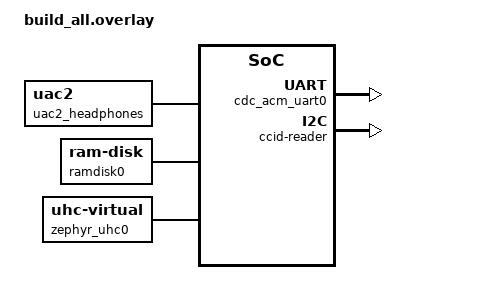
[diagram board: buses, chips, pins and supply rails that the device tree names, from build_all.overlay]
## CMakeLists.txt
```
# Copyright (c) 2023 Nordic Semiconductor ASA
# SPDX-License-Identifier: Apache-2.0

cmake_minimum_required(VERSION 3.28.0)

find_package(Zephyr REQUIRED HINTS $ENV{ZEPHYR_BASE})
project(test_usb_device_next)

target_include_directories(app PRIVATE ${ZEPHYR_BASE}/subsys/usb/host)

target_sources(app PRIVATE src/main.c)
```

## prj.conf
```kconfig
# Copyright (c) 2023 Nordic Semiconductor ASA
# SPDX-License-Identifier: Apache-2.0

CONFIG_LOG=y
CONFIG_ZTEST=y

CONFIG_USB_DEVICE_STACK_NEXT=y
CONFIG_USBD_LOOPBACK_CLASS=y
CONFIG_UDC_ENABLE_SOF=y
CONFIG_USBD_BUF_POOL_SIZE=4096

CONFIG_UHC_DRIVER=y
CONFIG_USB_HOST_STACK=y
```

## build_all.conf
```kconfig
# Copyright (c) 2024 Nordic Semiconductor ASA
# SPDX-License-Identifier: Apache-2.0

CONFIG_LOG=y
CONFIG_ZTEST=y

CONFIG_SHELL=y
CONFIG_USBD_SHELL=y

CONFIG_NETWORKING=y
CONFIG_NET_L2_ETHERNET=y

CONFIG_BT=y
CONFIG_BT_HCI_RAW=y

CONFIG_USB_DEVICE_STACK_NEXT=y
CONFIG_USBD_LOOPBACK_CLASS=y
CONFIG_USBD_CCID_CLASS=y

CONFIG_SERIAL=y
CONFIG_UART_INTERRUPT_DRIVEN=y
CONFIG_UART_LINE_CTRL=y

CONFIG_USBD_MSC_CLASS=y

CONFIG_USBD_AUDIO2_CLASS=y

CONFIG_USBD_BT_HCI=y

CONFIG_UHC_DRIVER=y
CONFIG_USB_HOST_STACK=y

CONFIG_TEST_RANDOM_GENERATOR=y
```

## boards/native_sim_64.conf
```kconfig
CONFIG_SYS_CLOCK_TICKS_PER_SEC=1000000
```

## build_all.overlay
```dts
/*
 * Copyright (c) 2024 Nordic Semiconductor ASA
 *
 * SPDX-License-Identifier: Apache-2.0
 */

/delete-node/ &zephyr_udc0;

#include <zephyr/dt-bindings/usb/audio.h>

/ {
	uac2_headphones: usb_audio2 {
		compatible = "zephyr,uac2";
		full-speed;
		audio-function = <AUDIO_FUNCTION_OTHER>;
		status = "okay";

		uac_aclk: aclk {
			compatible = "zephyr,uac2-clock-source";
			clock-type = "internal-programmable";
			frequency-control = "host-programmable";
			sampling-frequencies = <48000>;
		};

		out_terminal: out_terminal {
			compatible = "zephyr,uac2-input-terminal";
			clock-source = <&uac_aclk>;
			terminal-type = <USB_TERMINAL_STREAMING>;
			front-left;
			front-right;
		};

		headphones_output: headphones {
			compatible = "zephyr,uac2-output-terminal";
			data-source = <&out_terminal>;
			clock-source = <&uac_aclk>;
			terminal-type = <OUTPUT_TERMINAL_HEADPHONES>;
		};

		as_iso_out: out_interface {
			compatible = "zephyr,uac2-audio-streaming";
			linked-terminal = <&out_terminal>;
			subslot-size = <2>;
			bit-resolution = <16>;
		};
	};

	ramdisk0 {
		compatible = "zephyr,ram-disk";
		disk-name = "RAM";
		sector-size = <512>;
		sector-count = <1>;
	};

	cdc_ecm_eth0: cdc_ecm_eth0 {
		compatible = "zephyr,cdc-ecm-ethernet";
		remote-mac-address = "00005E005301";
	};

	zephyr_uhc0: uhc_vrt0 {
		compatible = "zephyr,uhc-virtual";

		zephyr_udc0: udc_vrt0 {
			compatible = "zephyr,udc-virtual";
			num-bidir-endpoints = <16>;
			maximum-speed = "high-speed";
		};
	};
};

&zephyr_udc0 {
	cdc_acm_uart0 {
		compatible = "zephyr,cdc-acm-uart";
	};

	ccid-reader {
		compatible = "zephyr,ccid";
		instance-id = <0>;
	};
};
```

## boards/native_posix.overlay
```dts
/*
 * Copyright (c) 2023 Nordic Semiconductor ASA
 *
 * SPDX-License-Identifier: Apache-2.0
 */

/delete-node/ &zephyr_udc0;

/ {
	zephyr_uhc0: uhc_vrt0 {
		compatible = "zephyr,uhc-virtual";

		zephyr_udc0: udc_vrt0 {
			compatible = "zephyr,udc-virtual";
			num-bidir-endpoints = <8>;
			maximum-speed = "high-speed";
		};
	};
};
```

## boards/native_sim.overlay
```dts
/*
 * Copyright (c) 2023 Nordic Semiconductor ASA
 *
 * SPDX-License-Identifier: Apache-2.0
 */

/delete-node/ &zephyr_udc0;

/ {
	zephyr_uhc0: uhc_vrt0 {
		compatible = "zephyr,uhc-virtual";

		zephyr_udc0: udc_vrt0 {
			compatible = "zephyr,udc-virtual";
			num-bidir-endpoints = <8>;
			maximum-speed = "super-speed";
		};
	};
};
```

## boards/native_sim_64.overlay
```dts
/*
 * Copyright (c) 2025 Nordic Semiconductor ASA
 *
 * SPDX-License-Identifier: Apache-2.0
 */

#include "native_sim.overlay"
```

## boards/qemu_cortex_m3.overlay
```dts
/*
 * Copyright (c) 2023 Nordic Semiconductor ASA
 *
 * SPDX-License-Identifier: Apache-2.0
 */

/ {
	zephyr_uhc0: uhc_vrt0 {
		compatible = "zephyr,uhc-virtual";

		zephyr_udc0: udc_vrt0 {
			compatible = "zephyr,udc-virtual";
			num-bidir-endpoints = <8>;
			maximum-speed = "high-speed";
		};
	};
};
```

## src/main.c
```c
/*
 * Copyright (c) 2023 Nordic Semiconductor ASA
 *
 * SPDX-License-Identifier: Apache-2.0
 */

#include <zephyr/ztest.h>
#include <zephyr/usb/usbd.h>
#include <zephyr/usb/usbh.h>

#include <usbh_ch9.h>
#include <usbh_device.h>

#include <zephyr/logging/log.h>
LOG_MODULE_REGISTER(usb_test, LOG_LEVEL_INF);

#define TEST_DEFAULT_INTERFACE		0
#define TEST_DEFAULT_ALTERNATE		1

USBD_CONFIGURATION_DEFINE(test_fs_config,
			  USB_SCD_SELF_POWERED | USB_SCD_REMOTE_WAKEUP,
			  200, NULL);

USBD_CONFIGURATION_DEFINE(test_hs_config,
			  USB_SCD_SELF_POWERED | USB_SCD_REMOTE_WAKEUP,
			  200, NULL);


USBD_DESC_LANG_DEFINE(test_lang);
USBD_DESC_STRING_DEFINE(test_mfg, "ZEPHYR", 1);
USBD_DESC_STRING_DEFINE(test_product, "Zephyr USB Test", 2);
USBD_DESC_STRING_DEFINE(test_sn, "0123456789ABCDEF", 3);

USBD_DEVICE_DEFINE(test_usbd,
		   DEVICE_DT_GET(DT_NODELABEL(zephyr_udc0)),
		   0x2fe3, 0xffff);

USBH_CONTROLLER_DEFINE(uhs_ctx, DEVICE_DT_GET(DT_NODELABEL(zephyr_uhc0)));

static int test_cmp_string_desc(struct net_buf *const buf, const int idx)
{
	static struct usbd_desc_node *desc_nd;
	size_t len;

	if (idx == test_mfg.str.idx) {
		desc_nd = &test_mfg;
	} else if (idx == test_product.str.idx) {
		desc_nd = &test_product;
	} else if (idx == test_sn.str.idx) {
		desc_nd = &test_sn;
	} else {
		return -ENOTSUP;
	}

	if (net_buf_pull_u8(buf) != desc_nd->bLength) {
		return -EINVAL;
	}

	if (net_buf_pull_u8(buf) != USB_DESC_STRING) {
		return -EINVAL;
	}

	LOG_HEXDUMP_DBG(buf->data, buf->len, "");
	len = MIN(buf->len / 2, desc_nd->bLength / 2);
	for (size_t i = 0; i < len; i++) {
		uint16_t a = net_buf_pull_le16(buf);
		uint16_t b = ((uint8_t *)(desc_nd->ptr))[i];

		if (a != b) {
			LOG_INF("%c != %c", a, b);
			return -EINVAL;
		}
	}

	return 0;
}

ZTEST(device_next, test_get_desc_string)
{
	const uint8_t type = USB_DESC_STRING;
	const uint16_t id = 0x0409;
	static struct usb_device *udev;
	struct net_buf *buf;
	int err;

	udev = usbh_device_get_any(&uhs_ctx);
	zassert_not_null(udev, "No USB device available");

	buf = usbh_xfer_buf_alloc(udev, USB_CONTROL_EP_IN, UINT8_MAX, K_NO_WAIT);
	zassert_not_null(udev, "Failed to allocate buffer");

	err = k_mutex_lock(&udev->mutex, K_MSEC(200));
	zassert_equal(err, 0, "Failed to lock device");

	err = usbh_req_desc(udev, type, 1, id, UINT8_MAX, buf);
	zassert_equal(err, 0, "Transfer status is an error");
	err = test_cmp_string_desc(buf, 1);
	zassert_equal(err, 0, "Descriptor comparison failed");

	net_buf_reset(buf);
	err = usbh_req_desc(udev, type, 2, id, UINT8_MAX, buf);
	zassert_equal(err, 0, "Transfer status is an error");
	err = test_cmp_string_desc(buf, 2);
	zassert_equal(err, 0, "Descriptor comparison failed");

	net_buf_reset(buf);
	err = usbh_req_desc(udev, type, 3, id, UINT8_MAX, buf);
	zassert_equal(err, 0, "Transfer status is an error");
	err = test_cmp_string_desc(buf, 3);
	zassert_equal(err, 0, "Descriptor comparison failed");

	k_mutex_unlock(&udev->mutex);
	usbh_xfer_buf_free(udev, buf);
}

ZTEST(device_next, test_vendor_control_in)
{
	const uint8_t bmRequestType = (USB_REQTYPE_DIR_TO_HOST << 7) |
				      (USB_REQTYPE_TYPE_VENDOR << 5);
	static struct usb_device *udev;
	const uint8_t bRequest = 0x5c;
	const uint16_t wLength = 64;
	struct net_buf *buf;
	int err;

	if (!IS_ENABLED(CONFIG_UHC_VIRTUAL)) {
		LOG_WRN("The test was skipped, controller is not supported.");
		return;
	}

	udev = usbh_device_get_any(&uhs_ctx);
	zassert_not_null(udev, "No USB device available");

	buf = usbh_xfer_buf_alloc(udev, USB_CONTROL_EP_IN, wLength, K_NO_WAIT);
	zassert_not_null(udev, "Failed to allocate buffer");

	err = k_mutex_lock(&udev->mutex, K_MSEC(200));
	zassert_equal(err, 0, "Failed to lock device");

	/* Perform regular vendor IN transfer */
	for (uint32_t i = 0; i < CONFIG_UDC_BUF_COUNT; i++) {
		net_buf_reset(buf);
		err = usbh_req_setup(udev, bmRequestType, bRequest, 0, 0, wLength, buf);
		zassert_equal(err, 0, "Transfer status is an error");
	}

	/* Perform vendor IN transfer but omit status stage*/
	usbh_req_omit_status(true);
	for (uint32_t i = 0; i < CONFIG_UDC_BUF_COUNT * 2; i++) {
		net_buf_reset(buf);
		err = usbh_req_setup(udev, bmRequestType, bRequest, 0, 0, wLength, buf);
		zassert_equal(err, 0, "Transfer status is an error");
	}

	/* Perform vendor IN requests but omit data and status stage*/
	for (uint32_t i = 0; i < CONFIG_UDC_BUF_COUNT * 2; i++) {
		err = usbh_req_setup(udev, bmRequestType, bRequest, 0, 0, wLength, NULL);
		zassert_equal(err, 0, "Transfer status is an error");
	}

	usbh_req_omit_status(false);

	/* Perform regular vendor IN transfer again */
	for (uint32_t i = 0; i < CONFIG_UDC_BUF_COUNT; i++) {
		net_buf_reset(buf);
		err = usbh_req_setup(udev, bmRequestType, bRequest, 0, 0, wLength, buf);
		zassert_equal(err, 0, "Transfer status is an error");
	}

	k_mutex_unlock(&udev->mutex);
	usbh_xfer_buf_free(udev, buf);
}

ZTEST(device_next, test_vendor_control_out)
{
	const uint8_t bmRequestType = (USB_REQTYPE_DIR_TO_DEVICE << 7) |
				      (USB_REQTYPE_TYPE_VENDOR << 5);
	const uint8_t bRequest = 0x5b;
	static struct usb_device *udev;
	const uint16_t wLength = 64;
	struct net_buf *buf;
	int err;

	if (!IS_ENABLED(CONFIG_UHC_VIRTUAL)) {
		LOG_WRN("The test was skipped, controller is not supported.");
		return;
	}

	udev = usbh_device_get_any(&uhs_ctx);
	zassert_not_null(udev, "No USB device available");

	buf = usbh_xfer_buf_alloc(udev, USB_CONTROL_EP_OUT, wLength, K_NO_WAIT);
	zassert_not_null(udev, "Failed to allocate buffer");

	err = k_mutex_lock(&udev->mutex, K_MSEC(200));
	zassert_equal(err, 0, "Failed to lock device");

	/* Perform regular vendor OUT transfer */
	for (uint32_t i = 0; i < CONFIG_UDC_BUF_COUNT; i++) {
		net_buf_reset(buf);
		for (uint32_t n = 0; n < wLength; n++) {
			net_buf_add_u8(buf, n);
		}

		err = usbh_req_setup(udev, bmRequestType, bRequest, 0, 0, wLength, buf);
		zassert_equal(err, 0, "Transfer status is an error");
	}

	/* Perform vendor OUT transfer but omit status stage*/
	usbh_req_omit_status(true);
	for (uint32_t i = 0; i < CONFIG_UDC_BUF_COUNT * 2; i++) {
		net_buf_reset(buf);
		for (uint32_t n = 0; n < wLength; n++) {
			net_buf_add_u8(buf, n);
		}

		err = usbh_req_setup(udev, bmRequestType, bRequest, 0, 0, wLength, buf);
		zassert_equal(err, 0, "Transfer status is an error");
	}

	/* Perform vendor OUT requests but omit data and status stage*/
	for (uint32_t i = 0; i < CONFIG_UDC_BUF_COUNT * 2; i++) {
		err = usbh_req_setup(udev, bmRequestType, bRequest, 0, 0, wLength, NULL);
		zassert_equal(err, 0, "Transfer status is an error");
	}

	usbh_req_omit_status(false);

	/* Perform regular vendor OUT transfer again */
	for (uint32_t i = 0; i < CONFIG_UDC_BUF_COUNT; i++) {
		net_buf_reset(buf);
		for (uint32_t n = 0; n < wLength; n++) {
			net_buf_add_u8(buf, n);
		}

		err = usbh_req_setup(udev, bmRequestType, bRequest, 0, 0, wLength, buf);
		zassert_equal(err, 0, "Transfer status is an error");
	}

	k_mutex_unlock(&udev->mutex);
	usbh_xfer_buf_free(udev, buf);
}

ZTEST(device_next, test_control_nodata)
{
	const uint8_t bmRequestType = USB_REQTYPE_RECIPIENT_ENDPOINT;
	const uint8_t bRequest = USB_SREQ_CLEAR_FEATURE;
	const uint16_t wValue = USB_SFS_ENDPOINT_HALT;
	const uint16_t wIndex = USB_CONTROL_EP_OUT;
	static struct usb_device *udev;
	int err;

	if (!IS_ENABLED(CONFIG_UHC_VIRTUAL)) {
		LOG_WRN("The test was skipped, controller is not supported.");
		return;
	}

	udev = usbh_device_get_any(&uhs_ctx);
	zassert_not_null(udev, "No USB device available");

	err = k_mutex_lock(&udev->mutex, K_MSEC(200));
	zassert_equal(err, 0, "Failed to lock device");

	/* Perform regular control transfer */
	for (uint32_t i = 0; i < CONFIG_UDC_BUF_COUNT; i++) {
		err = usbh_req_setup(udev,
				     bmRequestType, bRequest, wValue, wIndex, 0,
				     NULL);
		zassert_equal(err, 0, "Transfer status is an error");
	}

	/* Perform transfer but omit status stage*/
	usbh_req_omit_status(true);
	for (uint32_t i = 0; i < CONFIG_UDC_BUF_COUNT * 2; i++) {
		err = usbh_req_setup(udev,
				     bmRequestType, bRequest, wValue, wIndex, 0,
				     NULL);
		zassert_equal(err, 0, "Transfer status is an error");
	}

	usbh_req_omit_status(false);

	/* Perform regular control transfer again */
	for (uint32_t i = 0; i < CONFIG_UDC_BUF_COUNT; i++) {
		err = usbh_req_setup(udev,
				     bmRequestType, bRequest, wValue, wIndex, 0,
				     NULL);
		zassert_equal(err, 0, "Transfer status is an error");
	}

	k_mutex_unlock(&udev->mutex);
}

/* Get Configuration request test */
ZTEST(device_next, test_get_configuration)
{
	struct usb_device *udev;
	uint8_t cfg = 0;
	int err;

	udev = usbh_device_get_any(&uhs_ctx);
	zassert_not_null(udev, "No USB device available");

	err = k_mutex_lock(&udev->mutex, K_MSEC(200));
	zassert_equal(err, 0, "Failed to lock device");

	err = usbh_req_get_cfg(udev, &cfg);
	k_mutex_unlock(&udev->mutex);

	switch (udev->state) {
	case USB_STATE_DEFAULT:
		/* Not specified, expect protocol error */
		zassert_equal(err, -EPIPE, "Transfer status is not a protocol error");
		break;
	case USB_STATE_ADDRESSED:
		/* TODO: Expect zero value */
		zassert_equal(err, 0, "Transfer status is an error");
		zassert_equal(cfg, 0, "Device not in address state");
		break;
	case USB_STATE_CONFIGURED:
		/* TODO: Expect non-zero valid configuration value */
		zassert_equal(err, 0, "Transfer status is an error");
		zassert_not_equal(cfg, 0, "Device not in configured state");
		break;
	default:
		break;
	}
}

/* Set Interface request test */
ZTEST(device_next, test_set_interface)
{
	struct usb_device *udev;
	int err;

	udev = usbh_device_get_any(&uhs_ctx);
	zassert_not_null(udev, "No USB device available");

	err = k_mutex_lock(&udev->mutex, K_MSEC(200));
	zassert_equal(err, 0, "Failed to lock device");

	err = usbh_req_set_alt(udev, TEST_DEFAULT_INTERFACE,
			       TEST_DEFAULT_ALTERNATE);
	k_mutex_unlock(&udev->mutex);

	switch (udev->state) {
	case USB_STATE_DEFAULT:
		/* Not specified, expect protocol error */
	case USB_STATE_ADDRESSED:
		/* Expect protocol error */
		zassert_equal(err, -EPIPE, "Transfer status is not a protocol error");
		break;
	case USB_STATE_CONFIGURED:
		/* TODO */
	default:
		break;
	}
}

static void *usb_test_enable(void)
{
	int err;

	err = usbh_init(&uhs_ctx);
	zassert_equal(err, 0, "Failed to initialize USB host");

	err = usbh_enable(&uhs_ctx);
	zassert_equal(err, 0, "Failed to enable USB host");

	err = uhc_bus_reset(uhs_ctx.dev);
	zassert_equal(err, 0, "Failed to signal bus reset");

	err = uhc_bus_resume(uhs_ctx.dev);
	zassert_equal(err, 0, "Failed to signal bus resume");

	err = uhc_sof_enable(uhs_ctx.dev);
	zassert_equal(err, 0, "Failed to enable SoF generator");

	LOG_INF("Host controller enabled");

	err = usbd_add_descriptor(&test_usbd, &test_lang);
	zassert_equal(err, 0, "Failed to initialize descriptor (%d)", err);

	err = usbd_add_descriptor(&test_usbd, &test_mfg);
	zassert_equal(err, 0, "Failed to initialize descriptor (%d)", err);

	err = usbd_add_descriptor(&test_usbd, &test_product);
	zassert_equal(err, 0, "Failed to initialize descriptor (%d)", err);

	err = usbd_add_descriptor(&test_usbd, &test_sn);
	zassert_equal(err, 0, "Failed to initialize descriptor (%d)", err);

	if (USBD_SUPPORTS_HIGH_SPEED &&
	    usbd_caps_speed(&test_usbd) == USBD_SPEED_HS) {
		err = usbd_add_configuration(&test_usbd, USBD_SPEED_HS, &test_hs_config);
		zassert_equal(err, 0, "Failed to add configuration (%d)", err);
	}

	err = usbd_add_configuration(&test_usbd, USBD_SPEED_FS, &test_fs_config);
	zassert_equal(err, 0, "Failed to add configuration (%d)", err);

	if (USBD_SUPPORTS_HIGH_SPEED &&
	    usbd_caps_speed(&test_usbd) == USBD_SPEED_HS) {
		err = usbd_register_all_classes(&test_usbd, USBD_SPEED_HS, 1, NULL);
		zassert_equal(err, 0, "Failed to unregister all instances(%d)", err);

		err = usbd_unregister_all_classes(&test_usbd, USBD_SPEED_HS, 1);
		zassert_equal(err, 0, "Failed to unregister all instances(%d)", err);

		err = usbd_register_class(&test_usbd, "loopback_0", USBD_SPEED_HS, 1);
		zassert_equal(err, 0, "Failed to register loopback_0 class (%d)", err);
	}

	err = usbd_register_all_classes(&test_usbd, USBD_SPEED_FS, 1, NULL);
	zassert_equal(err, 0, "Failed to unregister all instances(%d)", err);

	err = usbd_unregister_all_classes(&test_usbd, USBD_SPEED_FS, 1);
	zassert_equal(err, 0, "Failed to unregister all instances(%d)", err);

	err = usbd_register_class(&test_usbd, "loopback_0", USBD_SPEED_FS, 1);
	zassert_equal(err, 0, "Failed to register loopback_0 class (%d)", err);

	err = usbd_init(&test_usbd);
	zassert_equal(err, 0, "Failed to initialize device support");

	err = usbd_enable(&test_usbd);
	zassert_equal(err, 0, "Failed to enable device support");

	LOG_INF("Device support enabled");

	/* Allow the host time to reset the device. */
	k_msleep(200);

	return NULL;
}

static void usb_test_shutdown(void *f)
{
	int err;

	err = usbd_disable(&test_usbd);
	zassert_equal(err, 0, "Failed to enable device support");

	err = usbd_shutdown(&test_usbd);
	zassert_equal(err, 0, "Failed to shutdown device support");

	LOG_INF("Device support disabled");

	err = usbh_disable(&uhs_ctx);
	zassert_equal(err, 0, "Failed to disable USB host");

	LOG_INF("Host controller disabled");
}

ZTEST_SUITE(device_next, NULL, usb_test_enable, NULL, NULL, usb_test_shutdown);
```
